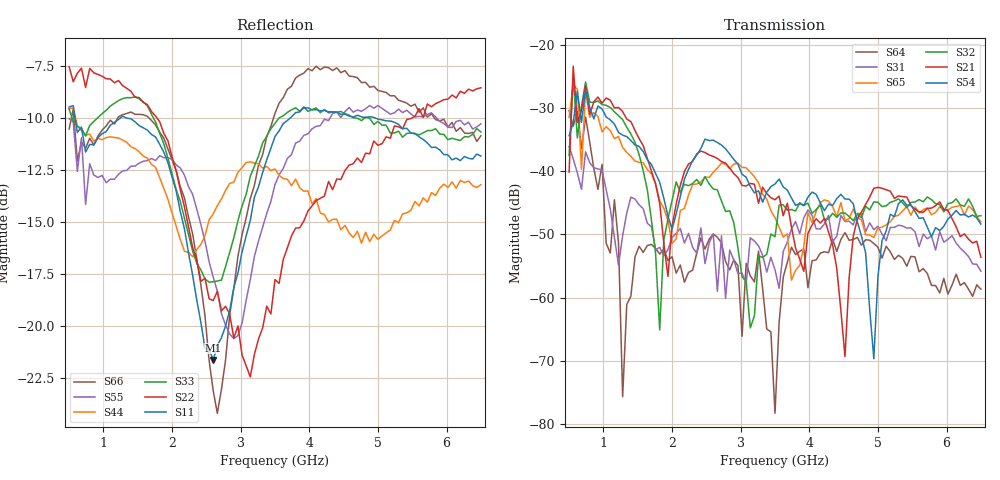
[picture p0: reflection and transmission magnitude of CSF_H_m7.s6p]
!Keysight Technologies,M9804A,MY58100912,A.14.10.03
!Date: Thursday, April 27, 2023 10:28:33
!Correction: S11(C  6-Port  )
!S12(C  6-Port  )
!S13(C  6-Port  )
!S14(C  6-Port  )
!S15(C  6-Port  )
!S16(C  6-Port  )
!S21(C  6-Port  )
!S22(C  6-Port  )
!S23(C  6-Port  )
!S24(C  6-Port  )
!S25(C  6-Port  )
!S26(C  6-Port  )
!S31(C  6-Port  )
!S32(C  6-Port  )
!S33(C  6-Port  )
!S34(C  6-Port  )
!S35(C  6-Port  )
!S36(C  6-Port  )
!S41(C  6-Port  )
!S42(C  6-Port  )
!S43(C  6-Port  )
!S44(C  6-Port  )
!S45(C  6-Port  )
!S46(C  6-Port  )
!S51(C  6-Port  )
!S52(C  6-Port  )
!S53(C  6-Port  )
!S54(C  6-Port  )
!S55(C  6-Port  )
!S56(C  6-Port  )
!S61(C  6-Port  )
!S62(C  6-Port  )
!S63(C  6-Port  )
!S64(C  6-Port  )
!S65(C  6-Port  )
!S66(C  6-Port  )
!S6P File: Measurement: :
# Hz S  RI  R 50
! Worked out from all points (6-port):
!   101 points, 500 MHz to 6.5 GHz, reference 50 ohm
!   strongest paths, dB at 500 MHz, 2 GHz, 3.5 GHz, 5 GHz, 6.5 GHz:
!     S54: -34.4, -49.2, -42.0, -56.7, -48.4
!     S21: -40.1, -48.7, -44.5, -42.5, -53.6
!     S32: -37.5, -44.6, -50.4, -44.9, -47.0
!     S65: -31.5, -51.4, -47.3, -48.9, -48.0
!     S31: -36.1, -50.5, -55.6, -48.7, -55.8
!     S64: -30.4, -53.5, -78.3, -52.0, -58.7
!   lowest |S11| = -21.6 dB at 2.6 GHz (marker M1), VSWR 1.18, Z = 42.6 + j2.04 ohm
!   |S11| at or under -10 dB: 588.4 MHz to 1.24 GHz (651.5 MHz wide, 71.3 % of centre); 1.359 GHz to 3.716 GHz (2.357 GHz wide, 92.9 % of centre); 4.974 GHz to end of sweep
